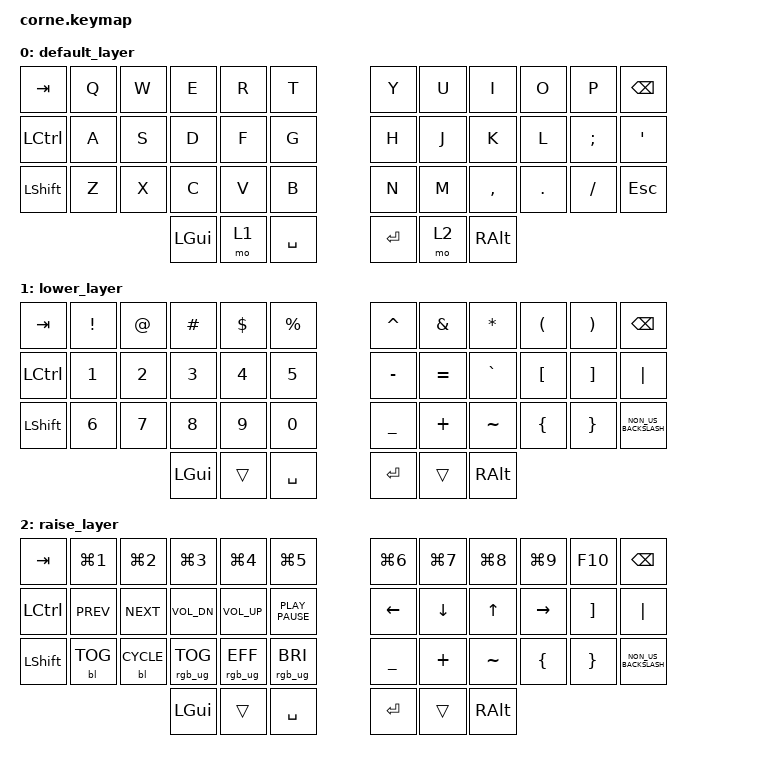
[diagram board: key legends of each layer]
/*
 * Copyright (c) 2020 The ZMK Contributors
 *
 * SPDX-License-Identifier: MIT
 */

#include <behaviors.dtsi>
#include <dt-bindings/zmk/backlight.h>
#include <dt-bindings/zmk/keys.h>
#include <dt-bindings/zmk/rgb.h>

&led_strip { chain-length = <27>; };

/ {
    combos {
        compatible = "zmk,combos";

        spotlight {
            bindings = <&kp LG(SPACE)>;
            key-positions = <36 40>;
            timeout-ms = <20000>;
        };
    };

    keymap {
        compatible = "zmk,keymap";

        default_layer {
            // -----------------------------------------------------------------------------------------
            // |  TAB |  Q  |  W  |  E  |  R  |  T  |   |  Y  |  U   |  I  |  O  |  P  | BKSP |
            // | CTRL |  A  |  S  |  D  |  F  |  G  |   |  H  |  J   |  K  |  L  |  ;  |  '   |
            // | SHFT |  Z  |  X  |  C  |  V  |  B  |   |  N  |  M   |  ,  |  .  |  /  | ESC  |
            //                    | GUI | LWR | SPC |   | ENT | RSE  | ALT |

            bindings = <
&kp TAB    &kp Q  &kp W  &kp E     &kp R  &kp T        &kp Y    &kp U  &kp I      &kp O    &kp P     &kp BSPC
&kp LCTRL  &kp A  &kp S  &kp D     &kp F  &kp G        &kp H    &kp J  &kp K      &kp L    &kp SEMI  &kp SQT
&kp LSHFT  &kp Z  &kp X  &kp C     &kp V  &kp B        &kp N    &kp M  &kp COMMA  &kp DOT  &kp FSLH  &kp ESC
                         &kp LGUI  &mo 1  &kp SPACE    &kp RET  &mo 2  &kp RALT
            >;
        };

        lower_layer {
            // -----------------------------------------------------------------------------------------
            // |  TAB |  1  |  2  |  3  |  4  |  5  |   |  6  |  7  |  8  |  9  |  0  | BKSP |
            // | BTCLR| BT1 | BT2 | BT3 | BT4 | BT5 |   | LFT | DWN |  UP | RGT |     |      |
            // | SHFT |     |     |     |     |     |   |     |     |     |     |     |      |
            //                    | GUI |     | SPC |   | ENT |     | ALT |

            bindings = <
&kp TAB    &kp EXCLAMATION  &kp AT_SIGN   &kp HASH      &kp DOLLAR    &kp PERCENT    &kp CARET       &kp AMPERSAND  &kp ASTERISK  &kp LEFT_PARENTHESIS  &kp RIGHT_PARENTHESIS  &kp BSPC
&kp LCTRL  &kp NUMBER_1     &kp NUMBER_2  &kp NUMBER_3  &kp NUMBER_4  &kp N5         &kp MINUS       &kp EQUAL      &kp GRAVE     &kp LEFT_BRACKET      &kp RIGHT_BRACKET      &kp PIPE
&kp LSHFT  &kp NUMBER_6     &kp N7        &kp N8        &kp N9        &kp N0         &kp UNDERSCORE  &kp PLUS       &kp TILDE     &kp LEFT_BRACE        &kp RIGHT_BRACE        &kp NON_US_BACKSLASH
                                          &kp LGUI      &trans        &kp SPACE      &kp RET         &trans         &kp RALT
            >;
        };

        raise_layer {
            // -----------------------------------------------------------------------------------------
            // |  TAB |  !  |  @  |  #  |  $  |  %  |   |  ^  |  &  |  *  |  (  |  )  | BKSP |
            // | CTRL |     |     |     |     |     |   |  -  |  =  |  [  |  ]  |  \  |  `   |
            // | SHFT |     |     |     |     |     |   |  _  |  +  |  {  |  }  | "|" |  ~   |
            //                    | GUI |     | SPC |   | ENT |     | ALT |

            bindings = <
&kp TAB    &kp LG(NUMBER_1)  &kp LG(NUMBER_2)  &kp LG(NUMBER_3)  &kp LG(NUMBER_4)  &kp LG(N5)          &kp LG(NUMBER_6)  &kp LG(N7)  &kp LG(N8)    &kp LG(N9)      &kp F10            &kp BSPC
&kp LCTRL  &kp K_PREV        &kp K_NEXT        &kp C_VOL_DN      &kp C_VOLUME_UP   &kp K_PLAY_PAUSE    &kp LEFT          &kp DOWN    &kp UP_ARROW  &kp RIGHT       &kp RIGHT_BRACKET  &kp PIPE
&kp LSHFT  &bl BL_TOG        &bl BL_CYCLE      &rgb_ug RGB_TOG   &rgb_ug RGB_EFF   &rgb_ug RGB_BRI     &kp UNDER         &kp PLUS    &kp TILDE     &kp LEFT_BRACE  &kp RIGHT_BRACE    &kp NON_US_BACKSLASH
                                               &kp LGUI          &trans            &kp SPACE           &kp RET           &trans      &kp RALT
            >;
        };
    };
};
